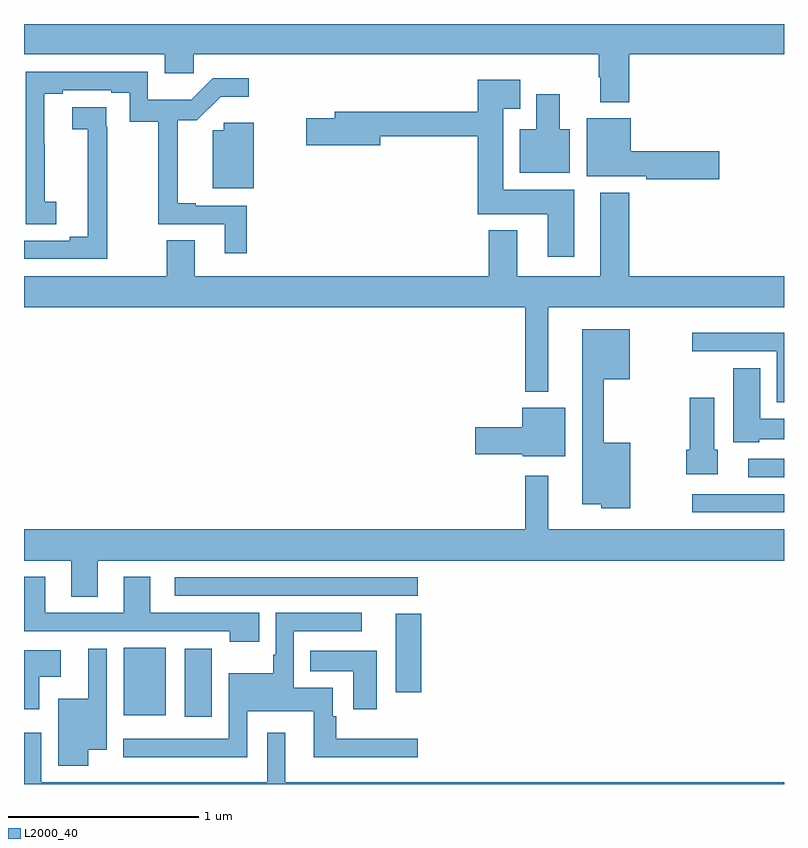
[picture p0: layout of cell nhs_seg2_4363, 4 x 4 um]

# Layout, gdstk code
import gdstk
lib = gdstk.Library(unit=1e-6, precision=1e-09)
def R(c, l, rs):  # rectangles x0, y0, x1, y1
    for r in rs: c.add(gdstk.rectangle(r[:2], r[2:], *l))
def P(c, l, *ps):  # polygons
    for p in ps: c.add(gdstk.Polygon(p, *l))
L2000_40 = (2000, 40)

nhs_seg2_4363 = lib.new_cell('nhs_seg2_4363')
R(nhs_seg2_4363, L2000_40, [(347.846,640.155,347.989,640.513), (347.525,640.163,347.746,640.516), (348.956,640.284,349.091,640.696), (347.793,640.791,349.072,640.887), (350.517,641.229,351,641.325), (350.811,641.415,351,641.511)])
P(nhs_seg2_4363, L2000_40, [(350.186,643.64),(351,643.64),(351,643.8),(347,643.8),(347,643.64),(347.741,643.64),(347.741,643.542),(347.893,643.542),(347.893,643.64),(350.026,643.64),(350.026,643.52),(350.033,643.52),(350.033,643.388),(350.186,643.388)],
  [(348.173,642.843),(347.905,642.843),(347.905,642.856),(347.81,642.856),(347.81,643.293),(347.909,643.293),(348.035,643.418),(348.184,643.418),(348.184,643.515),(347.994,643.515),(347.881,643.402),(347.652,643.402),(347.652,643.548),(347.01,643.548),(347.01,642.745),(347.17,642.745),(347.17,642.865),(347.109,642.865),(347.109,643.169),(347.107,643.169),(347.107,643.432),(347.203,643.432),(347.203,643.452),(347.459,643.452),(347.459,643.438),(347.556,643.438),(347.556,643.285),(347.707,643.285),(347.707,642.747),(348.056,642.747),(348.056,642.594),(348.173,642.594)],
  [(349.897,642.928),(349.522,642.928),(349.522,643.355),(349.612,643.355),(349.612,643.507),(349.388,643.507),(349.388,643.339),(348.635,643.339),(348.635,643.305),(348.486,643.305),(348.486,643.163),(348.874,643.163),(348.874,643.21),(349.388,643.21),(349.388,642.8),(349.757,642.8),(349.757,642.576),(349.897,642.576)],
  [(349.873,643.246),(349.819,643.246),(349.819,643.429),(349.697,643.429),(349.697,643.246),(349.61,643.246),(349.61,643.016),(349.873,643.016)],
  [(347.438,643.259),(347.432,643.259),(347.432,643.361),(347.253,643.361),(347.253,643.246),(347.335,643.246),(347.335,642.963),(347.336,642.963),(347.336,642.68),(347.24,642.68),(347.24,642.66),(347,642.66),(347,642.564),(347.438,642.564)],
  [(350.659,643.13),(350.194,643.13),(350.194,643.303),(349.961,643.303),(349.961,642.998),(350.274,642.998),(350.274,642.983),(350.659,642.983)],
  [(348.208,643.281),(348.051,643.281),(348.051,643.24),(347.993,643.24),(347.993,642.935),(348.208,642.935)],
  [(351,642.472),(350.186,642.472),(350.186,642.913),(350.033,642.913),(350.033,642.472),(349.597,642.472),(349.597,642.715),(349.445,642.715),(349.445,642.472),(347.899,642.472),(347.899,642.662),(347.752,642.662),(347.752,642.472),(347,642.472),(347,642.308),(349.638,642.308),(349.638,641.864),(349.759,641.864),(349.759,642.308),(351,642.308)],
  [(350.191,641.596),(350.051,641.596),(350.051,641.93),(350.188,641.93),(350.188,642.193),(349.937,642.193),(349.937,641.273),(350.037,641.273),(350.037,641.252),(350.191,641.252)],
  [(351,642.175),(350.517,642.175),(350.517,642.078),(350.963,642.078),(350.963,641.81),(351,641.81)],
  [(350.871,641.615),(351,641.615),(351,641.722),(350.875,641.722),(350.875,641.989),(350.732,641.989),(350.732,641.6),(350.871,641.6)],
  [(350.65,641.559),(350.632,641.559),(350.632,641.833),(350.503,641.833),(350.503,641.559),(350.485,641.559),(350.485,641.429),(350.65,641.429)],
  [(349.849,641.779),(349.622,641.779),(349.622,641.678),(349.374,641.678),(349.374,641.536),(349.626,641.536),(349.626,641.525),(349.849,641.525)],
  [(347.389,640.976),(351,640.976),(351,641.14),(349.759,641.14),(349.759,641.422),(349.638,641.422),(349.638,641.14),(347,641.14),(347,640.976),(347.249,640.976),(347.249,640.786),(347.389,640.786)],
  [(348.239,640.701),(347.665,640.701),(347.665,640.891),(347.525,640.891),(347.525,640.701),(347.113,640.701),(347.113,640.891),(347,640.891),(347,640.605),(348.083,640.605),(348.083,640.548),(348.239,640.548)],
  [(348.174,640.184),(348.524,640.184),(348.524,639.941),(349.072,639.941),(349.072,640.039),(348.643,640.039),(348.643,640.157),(348.625,640.157),(348.625,640.306),(348.42,640.306),(348.42,640.605),(348.778,640.605),(348.778,640.701),(348.324,640.701),(348.324,640.48),(348.312,640.48),(348.312,640.384),(348.078,640.384),(348.078,640.038),(347.522,640.038),(347.522,639.941),(348.174,639.941)],
  [(347.338,639.98),(347.436,639.98),(347.436,640.513),(347.339,640.513),(347.339,640.249),(347.18,640.249),(347.18,639.897),(347.338,639.897)],
  [(347.08,640.364),(347.194,640.364),(347.194,640.504),(347,640.504),(347,640.194),(347.08,640.194)],
  [(348.856,640.501),(348.507,640.501),(348.507,640.394),(348.734,640.394),(348.734,640.194),(348.856,640.194)],
  [(351,639.808),(348.376,639.808),(348.376,640.069),(348.279,640.069),(348.279,639.808),(347.091,639.808),(347.091,640.069),(347,640.069),(347,639.8),(351,639.8)])

lib.write_gds('nhs_seg2_4363.gds')
